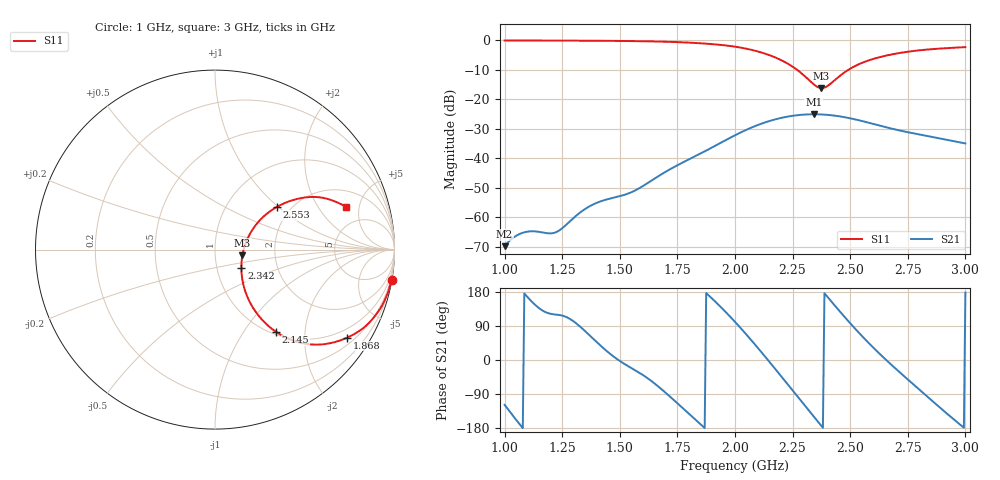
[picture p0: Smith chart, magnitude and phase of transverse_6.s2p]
! TOUCHSTONE file generated by CST MICROWAVE STUDIO
! Date and time: Tue Mar 11 13:55:46 2025
! Project name: transverse.cst
! Parameters = {Fracture=5; B=10; D=160; F=5; Feed=2.85625; L=100; M=20; R=0.384908; S=1; Theta=0; length=57.125; wave=114.25}
! Header version: 2024
! Port assignment regex: !\s*Touchstone port\s*([0-9]+)\s*=\s*(CST MWS port|CST DES external port|CST DES block port)\s*(.+)\s* \(\"(.*)\"\)(\s*mode\s*([0-9]+))?.*
! Touchstone port assignment:
! Touchstone port 1 = CST MWS port 1 ("")
! Touchstone port 2 = CST MWS port 2 ("")
# GHz S MA R 50
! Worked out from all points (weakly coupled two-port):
!   305 points, 1 GHz to 3 GHz, reference 50 ohm
!   highest |S21| = -25.03 dB at 2.342 GHz (marker M1); lowest = -69.7 dB at 1 GHz (marker M2)
!   lowest |S11| = -16.1 dB at 2.375 GHz (marker M3), VSWR 1.37, Z = 67.9 - j4.35 ohm
!   |S11| at or under -10 dB: 2.27 GHz to 2.491 GHz (221.4 MHz wide, 9.3 % of centre)
!   S12 and S22 are empty: the file has one direction only
!   S11 on the Smith chart (normalised r, x): 1 GHz: 0, -12; 1.868 GHz: 0.70, -3.16; 2.145 GHz: 1.04, -1.42; 2.342 GHz: 1.31, -0.28; 2.553 GHz: 1.70, +0.98; 3 GHz: 3.17, +3.69
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1  0.9979 -9.8  0.0003268 -118.3  0 0.0  0 0.0
1.03947  0.9972 -10.3  0.000461 -149.7  0 0.0  0 0.0
1.08553  0.9963 -10.9  0.0005613 175.7  0 0.0  0 0.0
1.22368  0.9941 -13.1  0.0005649 119.9  0 0.0  0 0.0
1.33553  0.9898 -15.2  0.00128 83.9  0 0.0  0 0.0
1.40789  0.9865 -16.7  0.001823 42.8  0 0.0  0 0.0
1.55263  0.9741 -20.5  0.002703 -22.0  0 0.0  0 0.0
1.67105  0.9559 -24.4  0.005111 -72.0  0 0.0  0 0.0
1.86842  0.8843 -33.7  0.01319 -179.6  0 0.0  0 0.0
2  0.7828 -42.5  0.02469 100.7  0 0.0  0 0.0
2.07237  0.6908 -48.2  0.03348 51.1  0 0.0  0 0.0
2.14474  0.5708 -53.4  0.04254 -1.4  0 0.0  0 0.0
2.24342  0.3732 -56.8  0.05235 -75.4  0 0.0  0 0.0
2.33553  0.1894 -39.0  0.05604 -144.8  0 0.0  0 0.0
2.34211  0.1801 -35.4  0.05606 -149.7  0 0.0  0 0.0
2.375  0.1559 -11.6  0.05566 -174.1  0 0.0  0 0.0
2.40132  0.1687 8.4  0.05478 166.6  0 0.0  0 0.0
2.46711  0.2722 31.7  0.05071 119.6  0 0.0  0 0.0
2.55263  0.4185 34.6  0.04297 62.3  0 0.0  0 0.0
2.67105  0.5691 30.5  0.03262 -8.4  0 0.0  0 0.0
2.82237  0.6932 23.9  0.02461 -90.0  0 0.0  0 0.0
3  0.769 18.0  0.01797 178.0  0 0.0  0 0.0
